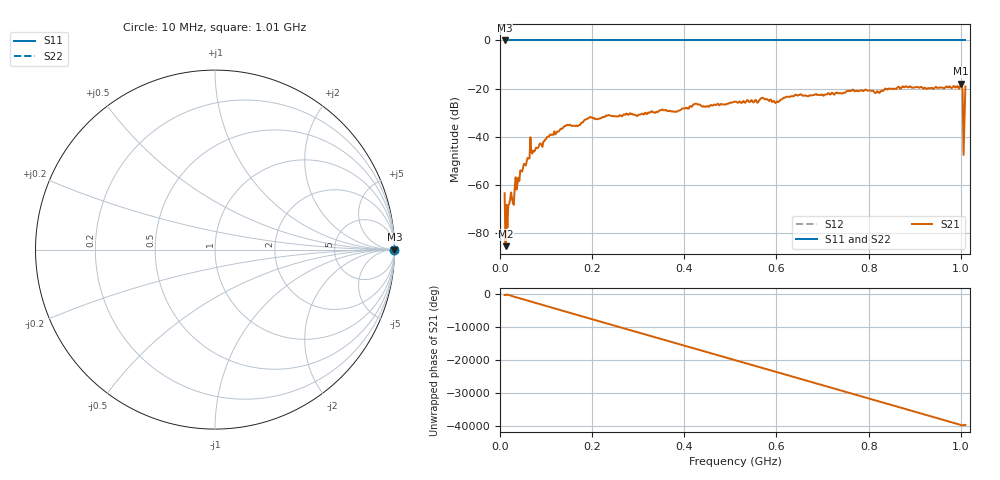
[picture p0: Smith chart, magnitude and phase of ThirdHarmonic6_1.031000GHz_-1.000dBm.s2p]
! 8/16/2025 8:48:41 AM
! C:\ANRITSUVNA\TEMP\TEMP.S2P
! CHANNEL.1
! TR.MEASUREMENT
! RAW.DATA
! RF.CORRECTION.OFF
! AVERAGING.OFF
! IF.BANDWIDTH: 5KHZ
! SWEEPTYPE:  FREQ.SWEEP(Linear)
! Reference Plane Port Info
! PORT:  PORT1  PORT2
! DISTANCE:  0  m  0  m
! TIME:  0  s  0  s
! PHASE.OFFSET:  0  deg.  0  deg.
! LOSS:  0  dB  0  dB
! REF.LOSS:  0  dB  0  dB
! REF.FREQ:  0  Hz  0  Hz
! Power Info
! POWER:  -20  dBm  -20  dBm
! EFF.POWER:  -20  dBm  -20  dBm
! SOURCE.ATTEN:  0  dB  0  dB
! TEST.ATTEN:  0  dB  0  dB
# GHZ S RI R 50.0
! FREQ.GHZ  S11RE  S11IM  S21RE  S21IM  S12RE  S12IM  S22RE  S22IM
!; PortSelection: Port_12
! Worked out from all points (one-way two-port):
!   501 points, 10 MHz to 1.01 GHz, reference 50 ohm
!   highest |S21| = -18.02 dB at 1 GHz (marker M1); lowest = -85.5 dB at 12 MHz (marker M2)
!   lowest |S11| = 0.0 dB at 10 MHz (marker M3)
!   |S11| at or under -10 dB: nowhere
!   |S22| runs from 0.0 to 0.0 dB; largest |S21 - S12| = 1.1
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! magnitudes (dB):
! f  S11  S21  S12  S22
! 10 MHz  0.0  -63.5  0.0  0.0
! 12 MHz  0.0  -85.5  0.0  0.0
! 16 MHz  0.0  -77.8  0.0  0.0
! 22 MHz  0.0  -66.0  0.0  0.0
! 26 MHz  0.0  -65.5  0.0  0.0
! 48 MHz  0.0  -54.5  0.0  0.0
! 70 MHz  0.0  -47.0  0.0  0.0
! 72 MHz  0.0  -45.8  0.0  0.0
! 106 MHz  0.0  -39.9  0.0  0.0
! 142 MHz  0.0  -35.6  0.0  0.0
! 178 MHz  0.0  -34.1  0.0  0.0
! 196 MHz  0.0  -31.7  0.0  0.0
! 344 MHz  0.0  -29.5  0.0  0.0
! 510 MHz  0.0  -25.5  0.0  0.0
! 570 MHz  0.0  -23.9  0.0  0.0
! 600 MHz  0.0  -25.6  0.0  0.0
! 622 MHz  0.0  -23.4  0.0  0.0
! 678 MHz  0.0  -22.7  0.0  0.0
! 844 MHz  0.0  -20.0  0.0  0.0
! 1 GHz  0.0  -18.0  0.0  0.0
! 1.004 GHz  0.0  -21.0  0.0  0.0
! 1.01 GHz  0.0  -19.1  0.0  0.0
